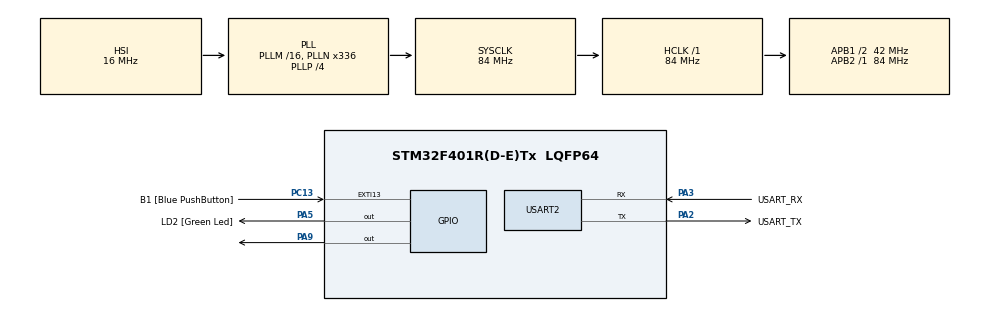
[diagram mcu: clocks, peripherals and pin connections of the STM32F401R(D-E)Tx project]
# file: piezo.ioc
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Mcu.Family=STM32F4
Mcu.Name=STM32F401R(D-E)Tx
Mcu.Package=LQFP64
NVIC.PriorityGroup=NVIC_PRIORITYGROUP_0
NVIC.TIM3_IRQn=true\:0\:0\:false\:false\:true\:true\:true\:true
NVIC.TIM4_IRQn=true\:0\:0\:false\:false\:true\:true\:true\:true
PA13.GPIO_Label=TMS
PA13.Mode=Serial_Wire
PA13.Signal=SYS_JTMS-SWDIO
PA14.GPIO_Label=TCK
PA14.Mode=Serial_Wire
PA14.Signal=SYS_JTCK-SWCLK
PA2.GPIO_Label=USART_TX
PA2.GPIO_Mode=GPIO_MODE_AF_PP
PA2.GPIO_PuPd=GPIO_NOPULL
PA2.GPIO_Speed=GPIO_SPEED_FREQ_LOW
PA2.Mode=Asynchronous
PA2.Signal=USART2_TX
PA3.GPIO_Label=USART_RX
PA3.GPIO_Mode=GPIO_MODE_AF_PP
PA3.GPIO_PuPd=GPIO_NOPULL
PA3.GPIO_Speed=GPIO_SPEED_FREQ_LOW
PA3.Mode=Asynchronous
PA3.Signal=USART2_RX
PA5.GPIO_Label=LD2 [Green Led]
PA5.GPIO_Mode=GPIO_MODE_OUTPUT_PP
PA5.GPIO_PuPd=GPIO_NOPULL
PA5.GPIO_Speed=GPIO_SPEED_FREQ_LOW
PA5.Signal=GPIO_Output
PA9.Signal=GPIO_Output
PB3.GPIO_Label=SWO
PB3.Signal=SYS_JTDO-SWO
PC13-ANTI_TAMP.GPIO_Label=B1 [Blue PushButton]
PC13-ANTI_TAMP.GPIO_ModeDefaultEXTI=GPIO_MODE_IT_FALLING
PC13-ANTI_TAMP.GPIO_PuPd=GPIO_NOPULL
PC13-ANTI_TAMP.Signal=GPXTI13
PC14-OSC32_IN.Mode=LSE-External-Oscillator
PC14-OSC32_IN.Signal=RCC_OSC32_IN
PC15-OSC32_OUT.Mode=LSE-External-Oscillator
PC15-OSC32_OUT.Signal=RCC_OSC32_OUT
PH0\ -\ OSC_IN.Mode=HSE-External-Oscillator
PH0\ -\ OSC_IN.Signal=RCC_OSC_IN
PH1\ -\ OSC_OUT.Mode=HSE-External-Oscillator
PH1\ -\ OSC_OUT.Signal=RCC_OSC_OUT
ProjectManager.HeapSize=0x200
ProjectManager.StackSize=0x400
ProjectManager.TargetToolchain=STM32CubeIDE
RCC.48MHZClocksFreq_Value=48000000
RCC.AHBFreq_Value=84000000
RCC.APB1CLKDivider=RCC_HCLK_DIV2
RCC.APB1Freq_Value=42000000
RCC.APB1TimFreq_Value=84000000
RCC.APB2Freq_Value=84000000
RCC.APB2TimFreq_Value=84000000
RCC.CortexFreq_Value=84000000
RCC.HCLKFreq_Value=84000000
RCC.HSE_VALUE=8000000
RCC.HSI_VALUE=16000000
RCC.PLLN=336
RCC.PLLP=RCC_PLLP_DIV4
RCC.PLLQ=7
RCC.SYSCLKFreq_VALUE=84000000
RCC.SYSCLKSource=RCC_SYSCLKSOURCE_PLLCLK
RCC.VCOOutputFreq_Value=336000000
TIM3.Period=1679
TIM3.Prescaler=499
TIM4.Period=349
TIM4.Prescaler=2
USART2.VirtualMode=VM_ASYNC
VP_TIM3_VS_ClockSourceINT.Mode=Internal
VP_TIM4_VS_ClockSourceINT.Mode=Internal
board=NUCLEO-F401RE

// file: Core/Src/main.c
/* USER CODE BEGIN Header */
/**
  ******************************************************************************
  * @file           : main.c
  * @brief          : Main program body
  ******************************************************************************
  * @attention
  *
  * Copyright (c) 2024 STMicroelectronics.
  * All rights reserved.
  *
  * This software is licensed under terms that can be found in the LICENSE file
  * in the root directory of this software component.
  * If no LICENSE file comes with this software, it is provided AS-IS.
  *
  ******************************************************************************
  */
/* USER CODE END Header */
#include "main.h"

TIM_HandleTypeDef htim3;
TIM_HandleTypeDef htim4;

UART_HandleTypeDef huart2;

void SystemClock_Config(void);
static void MX_GPIO_Init(void);
static void MX_USART2_UART_Init(void);
static void MX_TIM4_Init(void);
static void MX_TIM3_Init(void);

/* USER CODE BEGIN 0 */

uint8_t flag = 0;
uint8_t counter = 0;
/* USER CODE END 0 */

int main(void)
{

  /* MCU Configuration--------------------------------------------------------*/

  /* Reset of all peripherals, Initializes the Flash interface and the Systick. */
  HAL_Init();

  /* Configure the system clock */
  SystemClock_Config();

  /* Initialize all configured peripherals */
  MX_GPIO_Init();
  MX_USART2_UART_Init();
  MX_TIM4_Init();
  MX_TIM3_Init();

  /* Infinite loop */
  /* USER CODE BEGIN WHILE */
  HAL_TIM_Base_Start_IT(&htim4);
  HAL_TIM_Base_Start_IT(&htim3);
  //3 and 350 for 40khz
  while (1)
  {
	  //HAL_GPIO_TogglePin(GPIOA, GPIO_PIN_9);
	  //HAL_Delay(1);

	  if(counter > 34)
	  {
		  flag = 0;
		  counter = 0;
		  HAL_GPIO_WritePin(GPIOA, GPIO_PIN_9, GPIO_PIN_RESET);
	  }

    /* USER CODE END WHILE */

    /* USER CODE BEGIN 3 */
  }
}

void HAL_TIM_PeriodElapsedCallback(TIM_HandleTypeDef* htim)
{
	if(htim == &htim4)
	{
		if(flag == 1)
		{
			HAL_GPIO_TogglePin(GPIOA, GPIO_PIN_9);
			counter ++;
		}
	}
	else if(htim == &htim3)
	{
		flag = 1;
		//HAL_GPIO_TogglePin(GPIOA, GPIO_PIN_9);
	}
}

  /* USER CODE END 3 */

void SystemClock_Config(void)
{
  RCC_OscInitTypeDef RCC_OscInitStruct = {0};
  RCC_ClkInitTypeDef RCC_ClkInitStruct = {0};

  /** Configure the main internal regulator output voltage
  */
  __HAL_RCC_PWR_CLK_ENABLE();
  __HAL_PWR_VOLTAGESCALING_CONFIG(PWR_REGULATOR_VOLTAGE_SCALE2);

  /** Initializes the RCC Oscillators according to the specified parameters
  * in the RCC_OscInitTypeDef structure.
  */
  RCC_OscInitStruct.OscillatorType = RCC_OSCILLATORTYPE_HSI;
  RCC_OscInitStruct.HSIState = RCC_HSI_ON;
  RCC_OscInitStruct.HSICalibrationValue = RCC_HSICALIBRATION_DEFAULT;
  RCC_OscInitStruct.PLL.PLLState = RCC_PLL_ON;
  RCC_OscInitStruct.PLL.PLLSource = RCC_PLLSOURCE_HSI;
  RCC_OscInitStruct.PLL.PLLM = 16;
  RCC_OscInitStruct.PLL.PLLN = 336;
  RCC_OscInitStruct.PLL.PLLP = RCC_PLLP_DIV4;
  RCC_OscInitStruct.PLL.PLLQ = 7;
  if (HAL_RCC_OscConfig(&RCC_OscInitStruct) != HAL_OK)
  {
    Error_Handler();
  }

  /** Initializes the CPU, AHB and APB buses clocks
  */
  RCC_ClkInitStruct.ClockType = RCC_CLOCKTYPE_HCLK|RCC_CLOCKTYPE_SYSCLK
                              |RCC_CLOCKTYPE_PCLK1|RCC_CLOCKTYPE_PCLK2;
  RCC_ClkInitStruct.SYSCLKSource = RCC_SYSCLKSOURCE_PLLCLK;
  RCC_ClkInitStruct.AHBCLKDivider = RCC_SYSCLK_DIV1;
  RCC_ClkInitStruct.APB1CLKDivider = RCC_HCLK_DIV2;
  RCC_ClkInitStruct.APB2CLKDivider = RCC_HCLK_DIV1;

  if (HAL_RCC_ClockConfig(&RCC_ClkInitStruct, FLASH_LATENCY_2) != HAL_OK)
  {
    Error_Handler();
  }
}

static void MX_TIM3_Init(void)
{

  TIM_ClockConfigTypeDef sClockSourceConfig = {0};
  TIM_MasterConfigTypeDef sMasterConfig = {0};

  htim3.Instance = TIM3;
  htim3.Init.Prescaler = 499;
  htim3.Init.CounterMode = TIM_COUNTERMODE_UP;
  htim3.Init.Period = 1679;
  htim3.Init.ClockDivision = TIM_CLOCKDIVISION_DIV1;
  htim3.Init.AutoReloadPreload = TIM_AUTORELOAD_PRELOAD_DISABLE;
  if (HAL_TIM_Base_Init(&htim3) != HAL_OK)
  {
    Error_Handler();
  }
  sClockSourceConfig.ClockSource = TIM_CLOCKSOURCE_INTERNAL;
  if (HAL_TIM_ConfigClockSource(&htim3, &sClockSourceConfig) != HAL_OK)
  {
    Error_Handler();
  }
  sMasterConfig.MasterOutputTrigger = TIM_TRGO_RESET;
  sMasterConfig.MasterSlaveMode = TIM_MASTERSLAVEMODE_DISABLE;
  if (HAL_TIMEx_MasterConfigSynchronization(&htim3, &sMasterConfig) != HAL_OK)
  {
    Error_Handler();
  }

}

static void MX_TIM4_Init(void)
{

  TIM_ClockConfigTypeDef sClockSourceConfig = {0};
  TIM_MasterConfigTypeDef sMasterConfig = {0};

  htim4.Instance = TIM4;
  htim4.Init.Prescaler = 2;
  htim4.Init.CounterMode = TIM_COUNTERMODE_UP;
  htim4.Init.Period = 349;
  htim4.Init.ClockDivision = TIM_CLOCKDIVISION_DIV1;
  htim4.Init.AutoReloadPreload = TIM_AUTORELOAD_PRELOAD_DISABLE;
  if (HAL_TIM_Base_Init(&htim4) != HAL_OK)
  {
    Error_Handler();
  }
  sClockSourceConfig.ClockSource = TIM_CLOCKSOURCE_INTERNAL;
  if (HAL_TIM_ConfigClockSource(&htim4, &sClockSourceConfig) != HAL_OK)
  {
    Error_Handler();
  }
  sMasterConfig.MasterOutputTrigger = TIM_TRGO_RESET;
  sMasterConfig.MasterSlaveMode = TIM_MASTERSLAVEMODE_DISABLE;
  if (HAL_TIMEx_MasterConfigSynchronization(&htim4, &sMasterConfig) != HAL_OK)
  {
    Error_Handler();
  }

}

static void MX_USART2_UART_Init(void)
{

  huart2.Instance = USART2;
  huart2.Init.BaudRate = 115200;
  huart2.Init.WordLength = UART_WORDLENGTH_8B;
  huart2.Init.StopBits = UART_STOPBITS_1;
  huart2.Init.Parity = UART_PARITY_NONE;
  huart2.Init.Mode = UART_MODE_TX_RX;
  huart2.Init.HwFlowCtl = UART_HWCONTROL_NONE;
  huart2.Init.OverSampling = UART_OVERSAMPLING_16;
  if (HAL_UART_Init(&huart2) != HAL_OK)
  {
    Error_Handler();
  }

}

static void MX_GPIO_Init(void)
{
  GPIO_InitTypeDef GPIO_InitStruct = {0};

  /* GPIO Ports Clock Enable */
  __HAL_RCC_GPIOC_CLK_ENABLE();
  __HAL_RCC_GPIOH_CLK_ENABLE();
  __HAL_RCC_GPIOA_CLK_ENABLE();
  __HAL_RCC_GPIOB_CLK_ENABLE();

  /*Configure GPIO pin Output Level */
  HAL_GPIO_WritePin(GPIOA, LD2_Pin|GPIO_PIN_9, GPIO_PIN_RESET);

  /*Configure GPIO pin : B1_Pin */
  GPIO_InitStruct.Pin = B1_Pin;
  GPIO_InitStruct.Mode = GPIO_MODE_IT_FALLING;
  GPIO_InitStruct.Pull = GPIO_NOPULL;
  HAL_GPIO_Init(B1_GPIO_Port, &GPIO_InitStruct);

  /*Configure GPIO pins : LD2_Pin PA9 */
  GPIO_InitStruct.Pin = LD2_Pin|GPIO_PIN_9;
  GPIO_InitStruct.Mode = GPIO_MODE_OUTPUT_PP;
  GPIO_InitStruct.Pull = GPIO_NOPULL;
  GPIO_InitStruct.Speed = GPIO_SPEED_FREQ_LOW;
  HAL_GPIO_Init(GPIOA, &GPIO_InitStruct);

}

void Error_Handler(void)
{
  __disable_irq();
  while (1)
  {
  }
}
